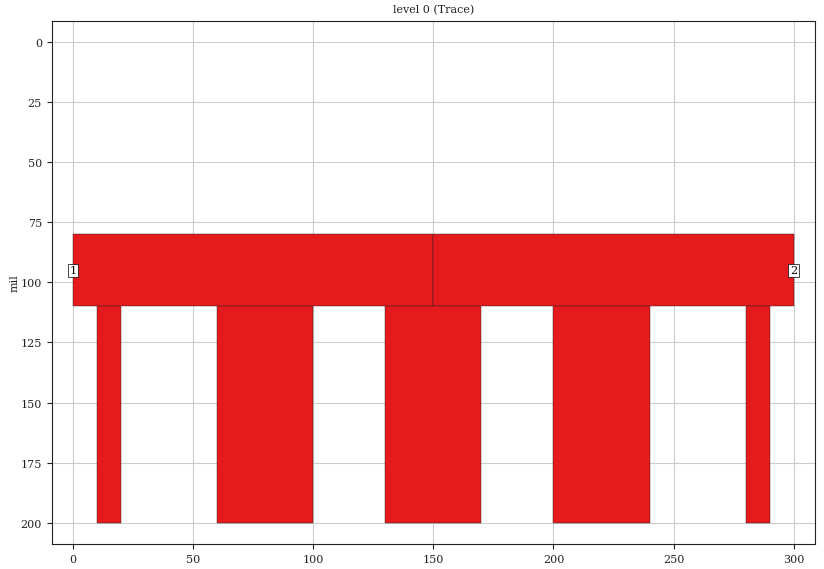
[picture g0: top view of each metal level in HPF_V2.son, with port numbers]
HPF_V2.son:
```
FTYP SONPROJ 19 ! Sonnet Project File
VER 18.58
HEADER
LIC carleton6.2.98695
DAT 01/21/2025 19:30:37
BUILT_BY_CREATED xgeom 18.56 01/10/2025 18:10:59
BUILT_BY_SAVED sonnet 18.58
MDATE 01/21/2025 19:30:37
HDATE 01/21/2025 19:30:37
END HEADER
DIM
ANG DEG
CAP PF
CON /OH
FREQ GHZ
IND NH
LNG MIL
RES OH
END DIM
CONTROL
VARSWP
OPTIONS  -d
SPEED 0
CACHE_ABS 2
Q_ACC N
END CONTROL
GEO
TMET "Lossless" 0 SUP 0 0 0 0
BMET "Lossless" 0 SUP 0 0 0 0
MET "Copper" 1 NOR 58000000 0.5 2 
BOX 1 300 200 600 400 20 0
      200 1 1 0 0 0 0 "Air"
      20 9.9 1 0.0001 0 0 0 "Alumina (99.5%)"
TECHLAY METAL Trace <UNSPECIFIED> -2 -65534 
0 0 0 N 226 1 1 100 100 0 0 0 Y
END
END
VALVAR x1 LNG 49.212598425197 "Dim. Param."
VALVAR x2 LNG 49.212598425197 "Dim. Param."
VALVAR x3 LNG 24.606299212598 "Dim. Param."
VALVAR x4 LNG 24.606299212598 "Dim. Param."
VALVAR width3 LNG 40 "Dim. Param."
VALVAR width2 LNG 40 "Dim. Param."
VALVAR sep LNG 70 "Dim. Param."
VALVAR height LNG 90 "Dim. Param."
VALVAR width LNG 10 "Dim. Param."
VALVAR w3 LNG 40 "Dim. Param."
VALVAR sep_1 NONE 70 ""
LORGN 0 250 U 
POR1 BOX
POLY 158 1
3
1 50 0 0 0 0 95 
POR1 BOX
POLY 159 1
1
2 50 0 0 0 300 95 
NUM 7
0 5 0 N 158 1 1 100 100 0 0 0 Y
TLAYNAM Trace INH
0 80
150 80
150 110
0 110
0 80
END
0 5 0 N 159 1 1 100 100 0 0 0 Y
TLAYNAM Trace INH
150 80
300 80
300 110
150 110
150 80
END
0 5 0 N 212 1 1 100 100 0 0 0 Y
TLAYNAM Trace INH
10 110
20 110
20 200
10 200
10 110
END
0 5 0 N 213 1 1 100 100 0 0 0 Y
TLAYNAM Trace INH
280 110
290 110
290 200
280 200
280 110
END
0 5 0 N 214 1 1 100 100 0 0 0 Y
TLAYNAM Trace INH
130 110
170 110
170 200
130 200
130 110
END
0 5 0 N 215 1 1 100 100 0 0 0 Y
TLAYNAM Trace INH
60 110
100 110
100 200
60 200
60 110
END
0 5 0 N 216 1 1 100 100 0 0 0 Y
TLAYNAM Trace INH
200 110
240 110
240 200
200 200
200 110
END
END GEO
OPT
MAX 100
END OPT
VARSWP
SWPVARS ON
ENABLED Y
FREQ Y AY ABS_ENTRY 1.0 20.0 -1 300 
VAR width Y 10.0 36.0 4.0
VAR width Y 10.0 36.0 4.0
VAR width2 Y 10.0 36.0 4.0
VAR sep Y 40.0 67.0 3.0
VAR sep Y 40.0 67.0 3.0
VAR height Y 50.0 140.0 10.0
END
END VARSWP
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```
